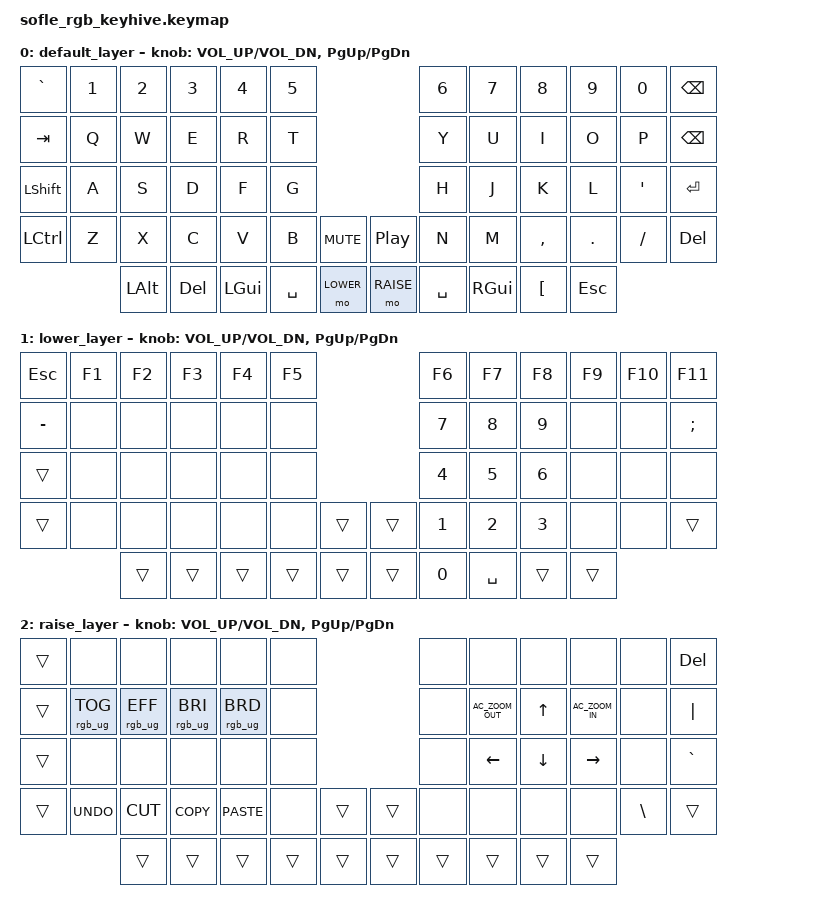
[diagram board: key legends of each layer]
/*
 * Copyright (c) 2020-2022 The ZMK Contributors
 *
 * SPDX-License-Identifier: MIT2
 */

#include <behaviors.dtsi>
#include <dt-bindings/zmk/keys.h>
#include <dt-bindings/zmk/bt.h>
#include <dt-bindings/zmk/rgb.h>

#define DEFAULT 0
#define LOWER 1
#define RAISE 2

/ {
    behaviors {
        plmin: plus_minus {
            compatible = "zmk,behavior-mod-morph";
            label = "PLUS_MINUS";
            #binding-cells = <0>;
            bindings = <&kp MINUS>, <&kp EQUAL>;
            mods = <(MOD_LALT)>;
        };

        rot_kp: sensor_rotate_kp {
            compatible = "zmk,behavior-sensor-rotate-var";
            #sensor-binding-cells = <2>;
            bindings = <&kp>, <&kp>;
        };
    };
};

/ {
    keymap {
        compatible = "zmk,keymap";

        default_layer {

//    ┌───────────────┬────────┬──────────┬──────────┬───────────┬───────────────┐                            ┌───────────────┬───────────┬───────────┬──────────┬──────────┬───────────┐
//    │    `          │   1    │    2     │    3     │     4     │      5        │                            │      6        │    7      │     8     │    9     │    0     │   Bkspc   │
//    ├───────────────┼────────┼──────────┼──────────┼───────────┼───────────────┤                            ├───────────────┼───────────┼───────────┼──────────┼──────────┼───────────┤
//    │     Tab       │   Q    │    W     │    E     │     R     │      T        │                            │      Y        │    U      │     I     │    O     │    P     │   Bkspc   │
//    ├───────────────┼────────┼──────────┼──────────┼───────────┼───────────────┤                            ├───────────────┼───────────┼───────────┼──────────┼──────────┼───────────┤
//    │    SHIFT      │   A    │    S     │    D     │     F     │      G        │                            │      H        │    J      │     K     │    L     │    ;     │   ENTER   │
//    ├───────────────┼────────┼──────────┼──────────┼───────────┼───────────────┼──────────────┬─────────────┼───────────────┼───────────┼───────────┼──────────┼──────────┼───────────┤
//    │     CTRL      │   Z    │    X     │    C     │     V     │      B        │    MUTE      │ Play Pause  │      N        │    M      │     ,     │    .     │    /     │   Shift   │
//    └───────────────┴────────┼──────────┼──────────┼───────────┼───────────────┼──────────────┼─────────────┼───────────────┼───────────┼───────────┼──────────┼──────────┴───────────┘
//                             │  ALT     │    DEL   │   L-WIN   │    SPACE      │   LOWER      │    RAISE    │    SPACE      │   R-Win   │    [      │    ESC    │                       
//                             └──────────┴──────────┴───────────┴───────────────┴──────────────┴─────────────┴───────────────┴───────────┴───────────┴──────────┘                       


            bindings = <
&kp GRAVE          &kp N1      &kp N2          &kp N3          &kp N4       &kp N5                                         &kp N6          &kp N7          &kp N8          &kp N9          &kp N0              &kp BSPC
&kp TAB            &kp Q       &kp W           &kp E           &kp R        &kp T                                          &kp Y           &kp U           &kp I           &kp O           &kp P               &kp BSPC
&kp LSHIFT         &kp A       &kp S           &kp D           &kp F        &kp G                                          &kp H           &kp J           &kp K           &kp L           &kp SINGLE_QUOTE    &kp ENTER
&kp LCTRL          &kp Z       &kp X           &kp C           &kp V        &kp B        &kp C_MUTE     &kp C_PLAY_PAUSE   &kp N           &kp M           &kp COMMA       &kp DOT         &kp FSLH    &kp DEL
                            &kp LALT      &kp DEL      &kp LGUI        &kp SPACE        &mo LOWER      &mo RAISE          &kp SPACE       &kp RGUI       &kp LBKT        &kp ESC >;

            sensor-bindings = <&inc_dec_kp C_VOL_UP C_VOL_DN &inc_dec_kp PG_UP PG_DN>;
        };


        lower_layer {

//    ┌───────────────┬────────┬──────────┬──────────┬───────────┬───────────────┐                            ┌───────────────┬───────────┬───────────┬──────────┬──────────┬───────────┐
//    │    ESC        │   F1   │    F2    │    F3    │    F4     │      F5       │                            │      F6       │    F7     │     F8    │    F9    │   F10    │   F11     │
//    ├───────────────┼────────┼──────────┼──────────┼───────────┼───────────────┤                            ├───────────────┼───────────┼───────────┼──────────┼──────────┼───────────┤
//    │    - minus    │        │          │          │           │               │                            │      7        │    8      │     9     │          │          │  SEMI     │
//    ├───────────────┼────────┼──────────┼──────────┼───────────┼───────────────┤                            ├───────────────┼───────────┼───────────┼──────────┼──────────┼───────────┤
//    │    (trans)    │        │          │          │           │               │                            │      4        │    5      │     6     │          │          │           │
//    ├───────────────┼────────┼──────────┼──────────┼───────────┼───────────────┼──────────────┬─────────────┼───────────────┼───────────┼───────────┼──────────┼──────────┼───────────┤
//    │    (trans)    │        │          │          │           │               │    (trans)   │   (trans)   │      1        │    2      │     3     │          │          │  (trans)  │
//    └───────────────┴────────┼──────────┼──────────┼───────────┼───────────────┼──────────────┼─────────────┼───────────────┼───────────┼───────────┼──────────┼──────────┴───────────┘
//                             │ (trans)  │ (trans)  │ (trans)   │   (trans)     │    (trans)   │   (trans)   │         0     │  SPACE    │ (trans)   │ (trans)  │                       
//                             └──────────┴──────────┴───────────┴───────────────┴──────────────┴─────────────┴───────────────┴───────────┴───────────┴──────────┘                       

            bindings = <
&kp ESC    &kp F1    &kp F2    &kp F3      &kp F4    &kp F5                      &kp F6    &kp F7   &kp F8   &kp F9    &kp F10   &kp F11
&kp MINUS    &none     &none     &none       &none     &none                     &kp N7    &kp N8   &kp N9   &none     &none     &kp SEMI
&trans    &none     &none     &none       &none     &none                        &kp N4    &kp N5   &kp N6   &none     &none     &none
&trans    &none     &none     &none       &none     &none     &trans   &trans    &kp N1    &kp N2   &kp N3   &none     &none     &trans
                    &trans    &trans      &trans    &trans    &trans   &trans    &kp N0    &kp SPACE   &trans   &trans >;

            sensor-bindings = <&inc_dec_kp C_VOL_UP C_VOL_DN &inc_dec_kp PG_UP PG_DN>;
        };

        raise_layer {

//    ┌───────────────┬────────┬──────────┬──────────┬───────────┬───────────────┐                            ┌───────────────┬───────────┬───────────┬──────────┬──────────┬───────────┐
//    │   (trans)     │        │          │          │           │               │                            │               │           │           │          │          │    DEL    │
//    ├───────────────┼────────┼──────────┼──────────┼───────────┼───────────────┤                            ├───────────────┼───────────┼───────────┼──────────┼──────────┼───────────┤
//    │   (trans)     │  rgb   │          │          │           │               │                            │               │ ZOOM OUT  │    Up     │ ZOOM IN  │          │     |     │
//    ├───────────────┼────────┼──────────┼──────────┼───────────┼───────────────┤                            ├───────────────┼───────────┼───────────┼──────────┼──────────┼───────────┤
//    │   (trans)     │        │          │          │           │               │                            │               │   Left    │   Down    │  Right   │          │    `~     │
//    ├───────────────┼────────┼──────────┼──────────┼───────────┼───────────────┼──────────────┬─────────────┼───────────────┼───────────┼───────────┼──────────┼──────────┼───────────┤
//    │   (trans)     │  Undo  │   Cut    │   Copy   │   Paste   │               │   (trans)    │   (trans)   │               │           │           │          │    \     │  (trans)  │
//    └───────────────┴────────┼──────────┼──────────┼───────────┼───────────────┼──────────────┼─────────────┼───────────────┼───────────┼───────────┼──────────┼──────────┴───────────┘
//                             │  (trans) │  (trans) │  (trans)  │   (trans)     │   (trans)    │   (trans)   │   (trans)     │  (trans)  │  (trans)  │ (trans)  │                       
//                             └──────────┴──────────┴───────────┴───────────────┴──────────────┴─────────────┴───────────────┴───────────┴───────────┴──────────┘                       

            bindings = <
&trans     &none        &none        &none        &none        &none                    &none     &none                 &none       &none               &none       &kp DEL 
&trans     &rgb_ug RGB_TOG        &rgb_ug RGB_EFF       &rgb_ug RGB_BRI        &rgb_ug RGB_BRD        &none                    &none     &kp C_AC_ZOOM_OUT     &kp UP      &kp C_AC_ZOOM_IN    &none       &kp PIPE
&trans     &none        &none        &none        &none        &none                    &none     &kp LEFT              &kp DOWN    &kp RIGHT           &none       &kp GRAVE
&trans     &kp K_UNDO   &kp K_CUT    &kp K_COPY   &kp K_PASTE  &none   &trans   &trans  &none     &none                 &none       &none               &kp BSLH    &trans
                        &trans       &trans       &trans       &trans  &trans   &trans  &trans    &trans                &trans      &trans >;

            sensor-bindings = <&inc_dec_kp C_VOL_UP C_VOL_DN &inc_dec_kp PG_UP PG_DN>;
        };
    };
};
